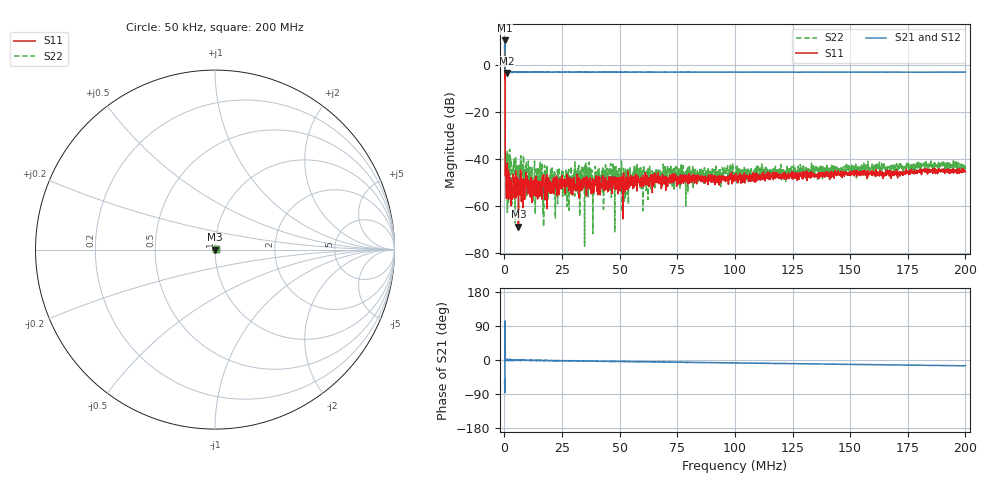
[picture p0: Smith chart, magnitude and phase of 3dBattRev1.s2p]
! 19-Feb-26 1:34:37 PM
! E:\VNA_MEASUREMENTS\RECBLOCK\3DBATTREV1.S2P
! CHANNEL.1
! TR.MEASUREMENT
! CORRECTED.DATA
# GHZ S RI R 50.0
! FREQ.GHZ  S11RE  S11IM  S21RE  S21IM  S12RE  S12IM  S22RE  S22IM
!; PortSelection: Port_12
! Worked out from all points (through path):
!   2000 points, 50 kHz to 200 MHz, reference 50 ohm
!   highest |S21| = 10.49 dB at 50 kHz (marker M1); lowest = -3.4 dB at 1.05 MHz (marker M2)
!   lowest |S11| = -68.9 dB at 6.052 MHz (marker M3), VSWR 1.00, Z = 50 - j0.0233 ohm
!   |S11| at or under -10 dB: 284.3 kHz to end of sweep
!   |S22| runs from -77.2 to 4.3 dB; largest |S21 - S12| = 4.4
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5e-05  -2.395 -0.8192  2.048 -2.644  0.9341 -1.358  1.58 0.469
0.00105025  -0.00204 -0.0037  0.6772 -0.0153  0.7078 -0.00435  -0.0126 -0.00627
0.0012503  0.00236 -0.00126  0.705 0.00181  0.7072 -0.00896  -0.000193 0.000698
0.001350325  0.0013 -0.00357  0.7191 -0.01  0.6998 -0.00738  0.00748 -0.00461
0.001750425  0.00132 -0.000432  0.7009 -0.02  0.7065 0.00206  -0.00156 -0.00812
0.005351326  0.00407 -0.00081  0.7054 -0.000674  0.7109 -0.0036  0.00196 0.00378
0.006051501  0.000274 -0.000233  0.6912 -0.00767  0.7068 -0.00486  -0.00564 0.00406
0.007751926  0.00138 -0.000231  0.7035 -0.00247  0.707 -0.00869  0.00165 0.00409
0.01255313  0.00304 0.000493  0.7097 -0.0151  0.7071 -0.0129  0.00213 -0.000749
0.01535383  0.00241 0.00143  0.7224 -0.0145  0.7069 -0.0144  0.00493 -0.00588
0.016054  0.00225 9.66e-05  0.7028 -0.0178  0.7078 -0.0144  0.000639 0.00264
0.01705425  0.00279 0.000575  0.7098 -0.0228  0.7059 -0.0173  0.000125 -0.000795
0.01815453  0.00277 0.00113  0.7117 -0.0111  0.7079 -0.0167  0.00591 -0.000663
0.02755688  0.00376 -0.000102  0.7035 -0.026  0.7105 -0.0274  0.00433 0.00325
0.0296574  0.00245 -0.000132  0.7081 -0.0294  0.706 -0.027  0.00237 0.00112
0.03345835  0.00158 0.00142  0.7098 -0.0298  0.7063 -0.0307  0.00274 -0.000272
0.05196298  0.0028 0.00109  0.7068 -0.0434  0.7059 -0.0491  0.00115 -0.000179
0.06676668  0.00338 0.00182  0.7038 -0.0677  0.7057 -0.0642  0.00505 0.00175
0.100075  0.00308 0.00197  0.6999 -0.0981  0.6991 -0.0959  0.00248 0.00303
0.1333833  0.00347 0.00226  0.6953 -0.1243  0.6952 -0.1258  0.004 0.00288
0.1666917  0.00384 0.0032  0.6872 -0.1559  0.6858 -0.1553  0.00415 0.00474
0.2  0.00433 0.00304  0.683 -0.1866  0.6809 -0.1851  0.00412 0.00428
